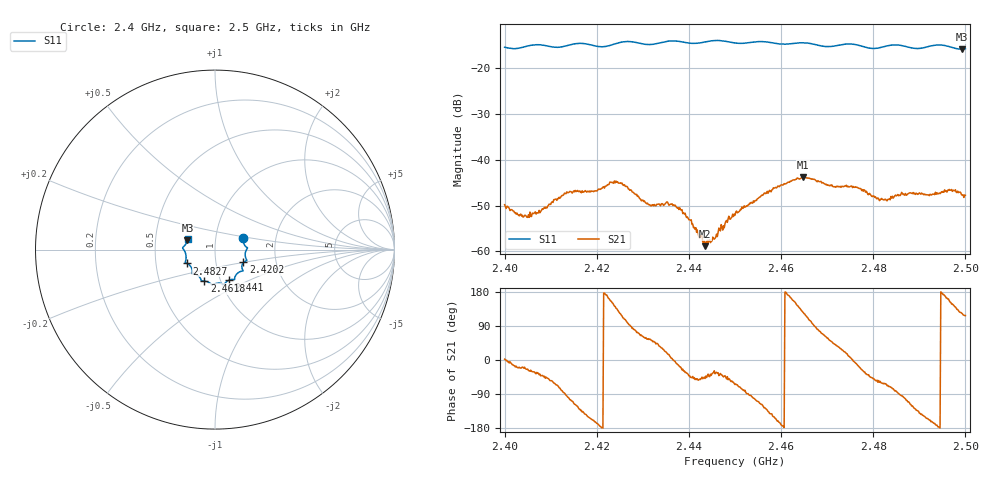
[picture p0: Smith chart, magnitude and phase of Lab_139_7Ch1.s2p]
# Hz S RI R 50
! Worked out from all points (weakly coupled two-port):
!   601 points, 2.4 GHz to 2.5 GHz, reference 50 ohm
!   highest |S21| = -43.80 dB at 2.4647 GHz (marker M1); lowest = -58.9 dB at 2.4435 GHz (marker M2)
!   lowest |S11| = -15.8 dB at 2.4993 GHz (marker M3), VSWR 1.39, Z = 36.5 + j3.83 ohm
!   |S11| at or under -10 dB: start of sweep to end of sweep
!   S12 and S22 are empty: the file has one direction only
!   S11 on the Smith chart (normalised r, x): 2.4 GHz: 1.36, +0.18; 2.4202 GHz: 1.36, -0.20; 2.441 GHz: 1.10, -0.39; 2.4618 GHz: 0.84, -0.30; 2.4827 GHz: 0.72, -0.12; 2.5 GHz: 0.73, +0.09
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2.4e9  0.1583 0.0625  0.00323 0.000125  0 0  0 0
2.405333e9  0.1766 0.0128  0.00207 -0.00111  0 0  0 0
2.4135e9  0.1708 -0.045  -0.000375 -0.00445  0 0  0 0
2.416667e9  0.1772 -0.0606  -0.00297 -0.00321  0 0  0 0
2.420167e9  0.1582 -0.0711  -0.00453 -0.000961  0 0  0 0
2.424667e9  0.1535 -0.1114  -0.00351 0.00435  0 0  0 0
2.431167e9  0.1252 -0.132  0.00181 0.00271  0 0  0 0
2.433333e9  0.1115 -0.151  0.00247 0.00216  0 0  0 0
2.436833e9  0.1082 -0.1675  0.00315 -0.000148  0 0  0 0
2.441e9  0.0785 -0.1697  0.00119 -0.00137  0 0  0 0
2.4435e9  0.0579 -0.185  0.000752 -0.000856  0 0  0 0
2.445167e9  0.0518 -0.1936  0.00118 -0.000809  0 0  0 0
2.45e9  0.0283 -0.187  0.00106 -0.00225  0 0  0 0
2.461833e9  -0.0594 -0.1753  -0.00556 0.00115  0 0  0 0
2.464667e9  -0.0755 -0.1745  -0.00396 0.0051  0 0  0 0
2.466667e9  -0.0783 -0.1682  -0.000837 0.00607  0 0  0 0
2.476667e9  -0.1267 -0.1268  0.00479 -0.00126  0 0  0 0
2.482667e9  -0.1561 -0.0773  0.00172 -0.00329  0 0  0 0
2.483333e9  -0.1604 -0.0753  0.00127 -0.00348  0 0  0 0
2.496667e9  -0.1703 0.0209  -0.00416 0.0021  0 0  0 0
2.499333e9  -0.1538 0.0511  -0.0022 0.00348  0 0  0 0
2.5e9  -0.1521 0.0607  -0.00189 0.00364  0 0  0 0
